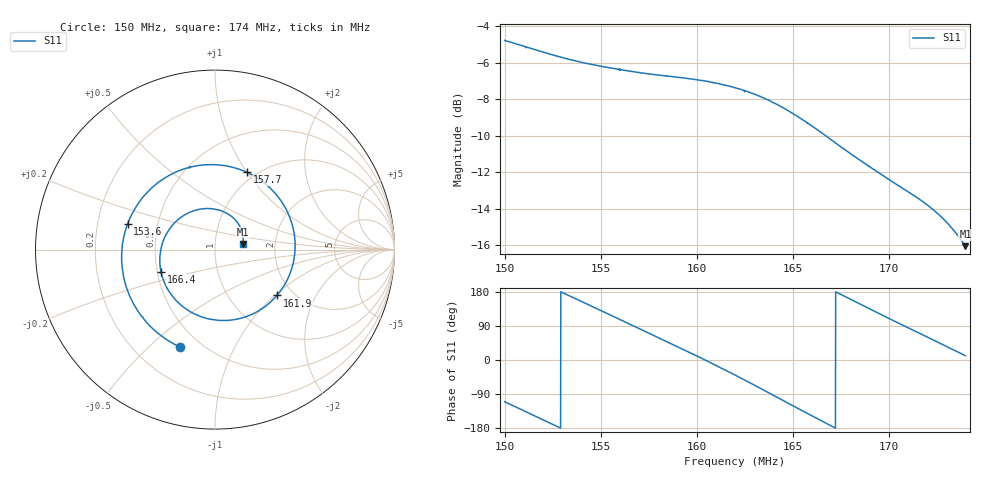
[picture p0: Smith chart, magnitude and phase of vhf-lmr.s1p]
! Calibrated averaged scanner-service zoom
# Hz S RI R 50
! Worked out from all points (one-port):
!   2001 points, 150 MHz to 174 MHz, reference 50 ohm
!   lowest |S11| = -16.1 dB at 174 MHz (marker M1), VSWR 1.37, Z = 68.1 + j4.34 ohm
!   |S11| at or under -10 dB: 166.7 MHz to end of sweep
!   S11 on the Smith chart (normalised r, x): 150 MHz: 0.39, -0.63; 153.6 MHz: 0.33, +0.13; 157.7 MHz: 0.91, +1.00; 161.9 MHz: 1.65, -1.03; 166.4 MHz: 0.52, -0.14; 174 MHz: 1.36, +0.09
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1.5e8  -0.1974 -0.5415
1.50696e8  -0.3364 -0.4504
1.51572e8  -0.46 -0.2909
1.52292e8  -0.5117 -0.1385
1.53e8  -0.5173 0.0157
1.53624e8  -0.4863 0.1445
1.54896e8  -0.3365 0.3579
1.56e8  -0.1409 0.4564
1.56816e8  0.0202 0.4719
1.57656e8  0.1779 0.4305
1.59e8  0.3725 0.265
1.59732e8  0.4306 0.1374
1.6044e8  0.4463 0.0016
1.61148e8  0.418 -0.1331
1.6188e8  0.3452 -0.2556
1.62e8  0.3295 -0.2729
1.62756e8  0.2106 -0.3585
1.63488e8  0.0748 -0.3941
1.64208e8  -0.0587 -0.3799
1.65e8  -0.1835 -0.3144
1.65708e8  -0.2614 -0.2243
1.66392e8  -0.3009 -0.1237
1.67148e8  -0.3042 -0.013
1.68e8  -0.2664 0.0947
1.69476e8  -0.1365 0.2098
1.71e8  0.0175 0.2215
1.72584e8  0.1328 0.14
1.74e8  0.1544 0.0311
